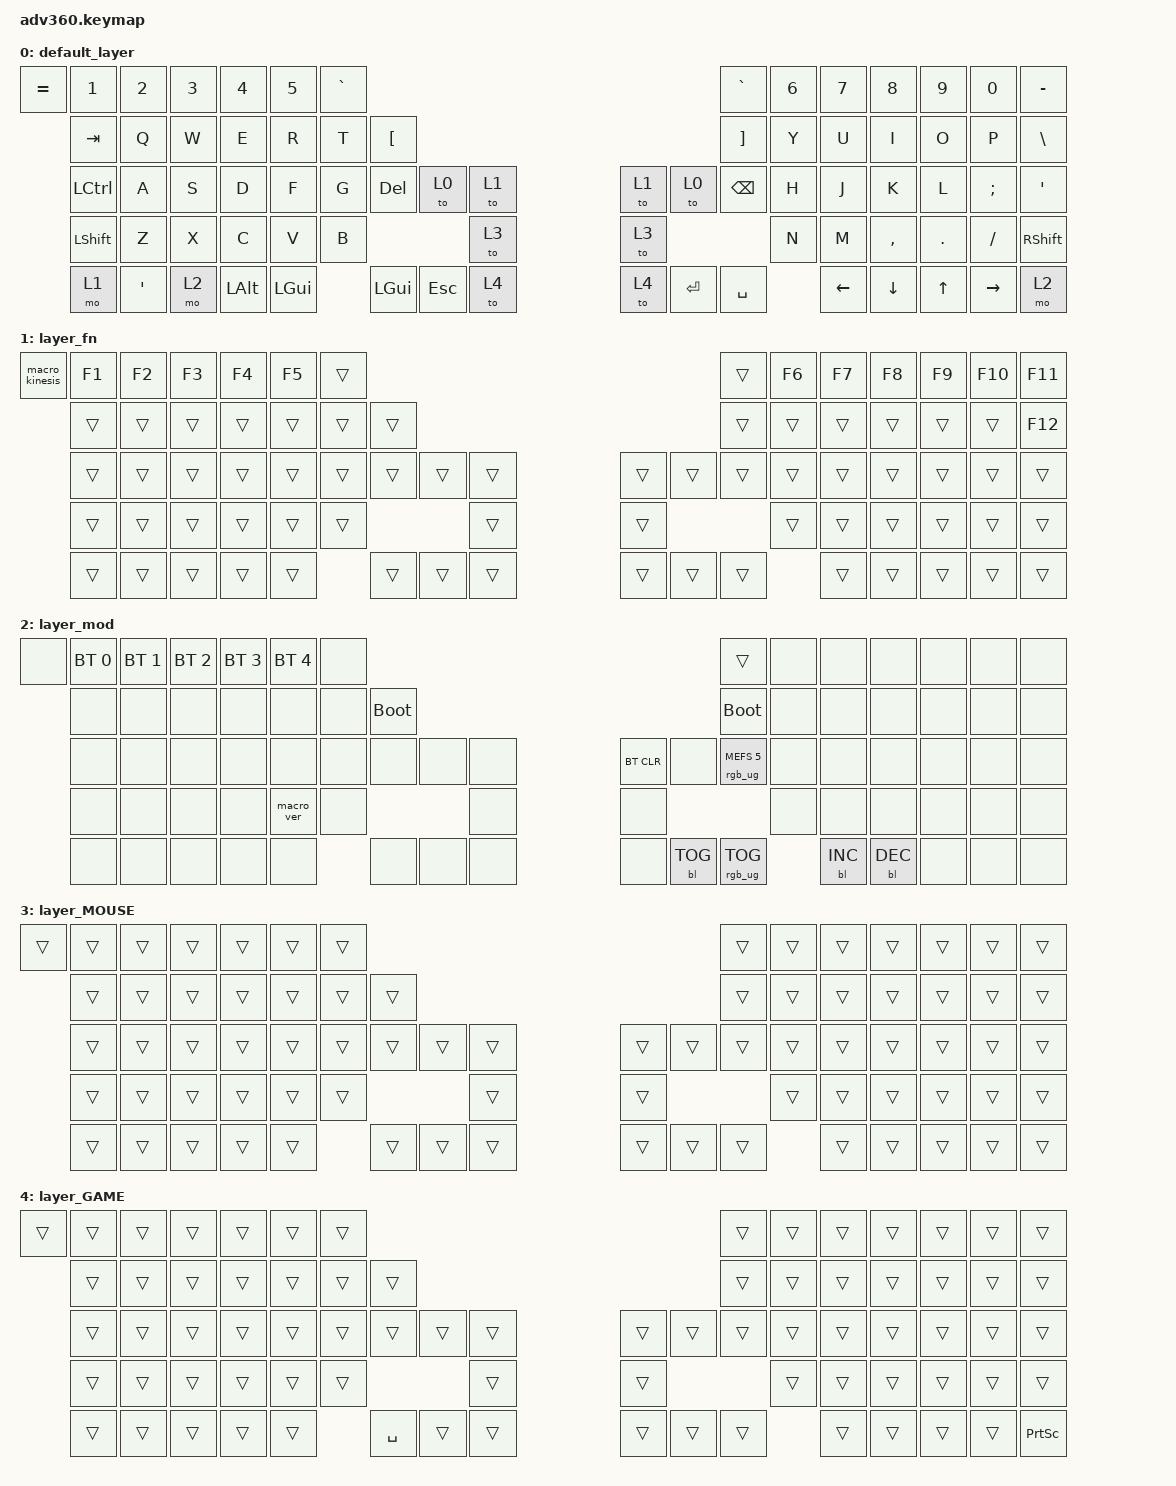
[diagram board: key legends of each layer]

/*
 * Copyright (c) 2020 The ZMK Contributors
 *
 * SPDX-License-Identifier: MIT
 */


/* THIS FILE WAS GENERATED!
 *
 * This file was generated automatically. You may or may not want to
 * edit it directly.
 */

#include <behaviors.dtsi>
#include <dt-bindings/zmk/keys.h>
#include <dt-bindings/zmk/bt.h>
#include <dt-bindings/zmk/rgb.h>
#include <dt-bindings/zmk/backlight.h>

/ {
  behaviors {
    #include "macros.dtsi"
    #include "version.dtsi"

    hm: homerow_mods {
        compatible = "zmk,behavior-hold-tap";
        label = "HOMEROW_MODS";
        #binding-cells = <2>;
        tapping-term-ms = <200>;
        quick_tap_ms = <175>;
        flavor = "tap-preferred";
        bindings = <&kp>, <&kp>;
    };
  };

    keymap {
        compatible = "zmk,keymap";


        default_layer {
            bindings = <
 &kp EQUAL            &kp N1  &kp N2        &kp N3        &kp N4  &kp N5                   &kp GRAVE                                                              &kp GRAVE  &kp N6          &kp N7     &kp N8   &kp N9           &kp N0  &kp MINUS
   &kp TAB             &kp Q   &kp W         &kp E         &kp R   &kp T            &kp LEFT_BRACKET                                                      &kp RIGHT_BRACKET   &kp Y           &kp U      &kp I    &kp O            &kp P   &kp BSLH
 &kp LCTRL             &kp A   &kp S         &kp D         &kp F   &kp G                     &kp DEL    &to 0   &to 1                   &to 1      &to 0      &kp BACKSPACE   &kp H           &kp J      &kp K    &kp L         &kp SEMI    &kp SQT
 &kp LSHFT             &kp Z   &kp X         &kp C         &kp V   &kp B                                        &to 3                   &to 3                                 &kp N           &kp M  &kp COMMA  &kp DOT         &kp FSLH  &kp RSHFT
     &mo 1  &kp SINGLE_QUOTE   &mo 2  &kp LEFT_ALT  &kp LEFT_GUI                        &kp LEFT_GUI  &kp ESC   &to 4                   &to 4  &kp ENTER          &kp SPACE          &kp LEFT_ARROW   &kp DOWN   &kp UP  &kp RIGHT_ARROW      &mo 2
            >;
        };

        layer_fn {
            bindings = <
 &macro_kinesis  &kp F1  &kp F2  &kp F3  &kp F4  &kp F5            &trans                                                  &trans  &kp F6  &kp F7  &kp F8  &kp F9  &kp F10  &kp F11
         &trans  &trans  &trans  &trans  &trans  &trans            &trans                                                  &trans  &trans  &trans  &trans  &trans   &trans  &kp F12
         &trans  &trans  &trans  &trans  &trans  &trans            &trans  &trans  &trans                  &trans  &trans  &trans  &trans  &trans  &trans  &trans   &trans   &trans
         &trans  &trans  &trans  &trans  &trans  &trans                            &trans                  &trans                  &trans  &trans  &trans  &trans   &trans   &trans
         &trans  &trans  &trans  &trans  &trans                    &trans  &trans  &trans                  &trans  &trans  &trans          &trans  &trans  &trans   &trans   &trans
            >;
        };

        layer_mod {
            bindings = <
  &none  &bt BT_SEL 0  &bt BT_SEL 1  &bt BT_SEL 2  &bt BT_SEL 3  &bt BT_SEL 4                  &none                                                                          &trans   &none       &none       &none   &none   &none   &none
  &none         &none         &none         &none         &none         &none            &bootloader                                                                     &bootloader   &none       &none       &none   &none   &none   &none
  &none         &none         &none         &none         &none         &none                  &none   &none   &none                  &bt BT_CLR       &none  &rgb_ug RGB_MEFS_CMD 5   &none       &none       &none   &none   &none   &none
  &none         &none         &none         &none    &macro_ver         &none                                  &none                       &none                                       &none       &none       &none   &none   &none   &none
  &none         &none         &none         &none         &none                                &none   &none   &none                       &none  &bl BL_TOG         &rgb_ug RGB_TOG          &bl BL_INC  &bl BL_DEC   &none   &none   &none
            >;
        };

        layer_MOUSE {
            bindings = <
 &trans  &trans  &trans  &trans  &trans  &trans            &trans                                                  &trans  &trans  &trans  &trans  &trans  &trans  &trans
 &trans  &trans  &trans  &trans  &trans  &trans            &trans                                                  &trans  &trans  &trans  &trans  &trans  &trans  &trans
 &trans  &trans  &trans  &trans  &trans  &trans            &trans  &trans  &trans                  &trans  &trans  &trans  &trans  &trans  &trans  &trans  &trans  &trans
 &trans  &trans  &trans  &trans  &trans  &trans                            &trans                  &trans                  &trans  &trans  &trans  &trans  &trans  &trans
 &trans  &trans  &trans  &trans  &trans                    &trans  &trans  &trans                  &trans  &trans  &trans          &trans  &trans  &trans  &trans  &trans
            >;
        };

        layer_GAME {
            bindings = <
 &trans  &trans  &trans  &trans  &trans  &trans               &trans                                                  &trans  &trans  &trans  &trans  &trans  &trans           &trans
 &trans  &trans  &trans  &trans  &trans  &trans               &trans                                                  &trans  &trans  &trans  &trans  &trans  &trans           &trans
 &trans  &trans  &trans  &trans  &trans  &trans               &trans  &trans  &trans                  &trans  &trans  &trans  &trans  &trans  &trans  &trans  &trans           &trans
 &trans  &trans  &trans  &trans  &trans  &trans                               &trans                  &trans                  &trans  &trans  &trans  &trans  &trans           &trans
 &trans  &trans  &trans  &trans  &trans                    &kp SPACE  &trans  &trans                  &trans  &trans  &trans          &trans  &trans  &trans  &trans  &kp PRINTSCREEN
            >;
        };

    };
};
